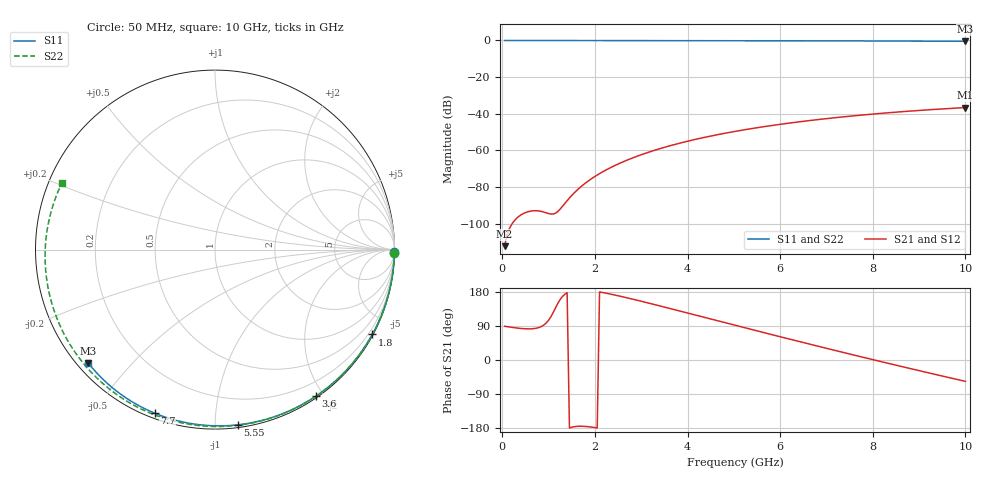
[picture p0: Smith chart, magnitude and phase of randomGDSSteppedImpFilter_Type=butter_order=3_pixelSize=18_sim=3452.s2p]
! freq	dB(S11)	phase(S11)	dB(S12)	phase(S12)
!  dB(S21)	phase(S21)	dB(S22)	phase(S22)
!S-par simulation data
#  GHz  S  DB  R 50
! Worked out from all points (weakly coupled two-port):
!   200 points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, 50 MHz to 10 GHz, reference 50 ohm
!   highest |S21| = -36.61 dB at 10 GHz (marker M1); lowest = -112.2 dB at 50 MHz (marker M2)
!   lowest |S11| = -0.5 dB at 10 GHz (marker M3), VSWR 37.05, Z = 1.55 - j19.1 ohm
!   |S11| at or under -10 dB: nowhere
!   |S22| runs from -0.6 to 0.0 dB; largest |S21 - S12| = 0
!   S11 on the Smith chart (normalised r, x): 50 MHz: open; 1.8 GHz: 0.03, -3.96; 3.6 GHz: 0.02, -1.91; 5.55 GHz: 0.02, -1.14; 7.7 GHz: 0.02, -0.70; 10 GHz: 0.03, -0.38
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0.05  -0.00 -0.8  -112.21 89.1  -112.21 89.1  -0.00 -1.2
0.8  -0.02 -12.7  -93.05 86.1  -93.05 86.1  -0.02 -18.3
1.2  -0.02 -19.0  -93.27 149.7  -93.27 149.7  -0.03 -27.4
1.65  -0.03 -26.0  -80.82 -174.8  -80.82 -174.8  -0.05 -37.4
1.7  -0.03 -26.8  -79.73 -174.8  -79.73 -174.8  -0.05 -38.5
1.75  -0.04 -27.6  -78.69 -175.0  -78.69 -175.0  -0.05 -39.6
1.8  -0.04 -28.4  -77.70 -175.4  -77.70 -175.4  -0.05 -40.7
2.1  -0.04 -33.0  -72.63 179.6  -72.63 179.6  -0.06 -47.3
2.5  -0.05 -39.1  -67.40 169.6  -67.40 169.6  -0.07 -55.9
2.9  -0.06 -45.1  -63.25 158.1  -63.25 158.1  -0.08 -64.4
3.4  -0.07 -52.5  -59.04 142.8  -59.04 142.8  -0.10 -74.7
3.6  -0.07 -55.4  -57.59 136.6  -57.59 136.6  -0.11 -78.8
4.3  -0.09 -65.4  -53.22 114.6  -53.22 114.6  -0.13 -92.8
5.05  -0.12 -75.8  -49.50 90.9  -49.50 90.9  -0.16 -107.3
5.55  -0.14 -82.6  -47.41 75.3  -47.41 75.3  -0.19 -116.8
6.1  -0.16 -89.9  -45.40 58.3  -45.40 58.3  -0.22 -127.1
6.7  -0.19 -97.7  -43.49 39.9  -43.49 39.9  -0.27 -138.3
7.2  -0.22 -104.0  -42.09 24.8  -42.09 24.8  -0.31 -147.6
7.7  -0.25 -110.3  -40.84 9.8  -40.84 9.8  -0.35 -157.0
8.35  -0.30 -118.3  -39.41 -9.3  -39.41 -9.3  -0.42 -169.5
9.2  -0.38 -128.6  -37.83 -33.8  -37.83 -33.8  -0.52 173.5
10  -0.47 -138.2  -36.61 -56.3  -36.61 -56.3  -0.63 156.5
